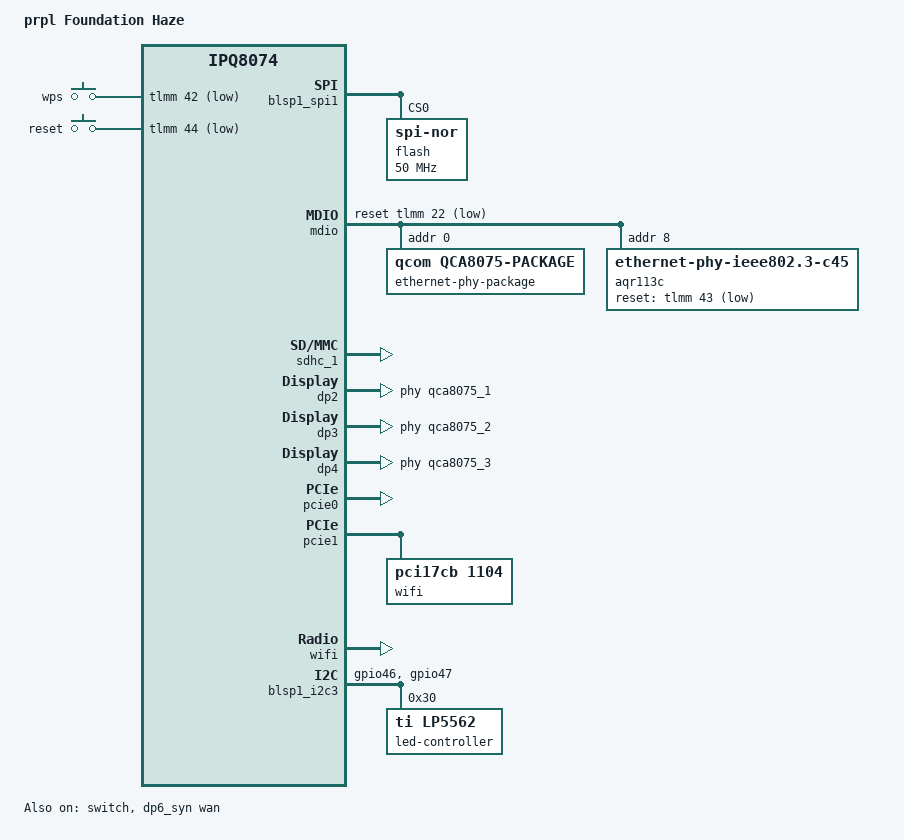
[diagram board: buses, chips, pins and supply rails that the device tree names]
// SPDX-License-Identifier: GPL-2.0-or-later OR MIT

/dts-v1/;

#include "ipq8074.dtsi"
#include "ipq8074-ess.dtsi"
#include "ipq8074-nss.dtsi"
#include "ipq8074-common.dtsi"
#include "ipq8074-hk-cpu.dtsi"

#include <dt-bindings/gpio/gpio.h>
#include <dt-bindings/input/input.h>
#include <dt-bindings/leds/common.h>

/ {
	model = "prpl Foundation Haze";
	compatible = "prpl,haze", "qcom,ipq8074";

	aliases {
		serial0 = &blsp1_uart5;

		led-boot = &led_system_blue;
		led-failsafe = &led_system_red;
		led-running = &led_system_green;
		led-upgrade = &led_system_blue;

		ethernet0 = &dp6_syn;
		ethernet1 = &dp4;
		ethernet2 = &dp3;
		ethernet3 = &dp2;

		label-mac-device = &dp6_syn;
	};

	chosen {
		stdout-path = "serial0:115200n8";
	};

	keys {
		compatible = "gpio-keys";

		wps-button {
			label = "wps";
			gpios = <&tlmm 42 GPIO_ACTIVE_LOW>;
			linux,code = <KEY_WPS_BUTTON>;
		};

		reset-button {
			label = "reset";
			gpios = <&tlmm 44 GPIO_ACTIVE_LOW>;
			linux,code = <KEY_RESTART>;
		};
	};
};

&tlmm {
	i2c_3_pins: i2c-3-pins {
		pins = "gpio46", "gpio47";
		function = "blsp2_i2c";
		drive-strength = <8>;
		bias-disable;
	};
};

&blsp1_spi1 {
	status = "okay";

	flash@0 {
		compatible = "jedec,spi-nor";
		spi-max-frequency = <50000000>;
		reg = <0>;

		partitions {
			compatible = "qcom,smem-part";
		};
	};
};

&mdio {
	status = "okay";

	pinctrl-0 = <&mdio_pins>;
	pinctrl-names = "default";
	reset-gpios = <&tlmm 22 GPIO_ACTIVE_LOW>;

	ethernet-phy-package@0 {
		compatible = "qcom,qca8075-package";
		#address-cells = <1>;
		#size-cells = <0>;
		reg = <0>;

		qcom,package-mode = "qsgmii";

		qca8075_0: ethernet-phy@0 {
			compatible = "ethernet-phy-ieee802.3-c22";
			reg = <0>;
		};

		qca8075_1: ethernet-phy@1 {
			compatible = "ethernet-phy-ieee802.3-c22";
			reg = <1>;
		};

		qca8075_2: ethernet-phy@2 {
			compatible = "ethernet-phy-ieee802.3-c22";
			reg = <2>;
		};

		qca8075_3: ethernet-phy@3 {
			compatible = "ethernet-phy-ieee802.3-c22";
			reg = <3>;
		};
	};

	aqr113c: ethernet-phy@5 {
		compatible ="ethernet-phy-ieee802.3-c45";
		reg = <8>;
		reset-gpios = <&tlmm 43 GPIO_ACTIVE_LOW>;
	};
};

&sdhc_1 {
	status = "okay";

	vqmmc-supply = <&l11>;
};

&switch {
	status = "okay";

	switch_lan_bmp = <(ESS_PORT1 | ESS_PORT2 | ESS_PORT3 | ESS_PORT4)>;
	switch_wan_bmp = <ESS_PORT6>;
	switch_mac_mode = <MAC_MODE_QSGMII>;
	switch_mac_mode1 = <MAC_MODE_10GBASE_R>;
	switch_mac_mode2 = <MAC_MODE_USXGMII>;

	qcom,port_phyinfo {
		port@1 {
			port_id = <1>;
			phy_address = <0>;
		};

		port@2 {
			port_id = <2>;
			phy_address = <1>;
		};

		port@3 {
			port_id = <3>;
			phy_address = <2>;
		};

		port@4 {
			port_id = <4>;
			phy_address = <3>;
		};

		port@6 {
			port_id = <6>;
			phy_address = <8>;
			compatible = "ethernet-phy-ieee802.3-c45";
			ethernet-phy-ieee802.3-c45;
		};
	};
};

&edma {
	status = "okay";
};

/* Dummy LAN port */
&dp1 {
	status = "disabled";
	phy-handle = <&qca8075_0>;
	label = "lan4";
};

&dp2 {
	status = "okay";
	phy-handle = <&qca8075_1>;
	label = "lan3";
};

&dp3 {
	status = "okay";
	phy-handle = <&qca8075_2>;
	label = "lan2";
};

&dp4 {
	status = "okay";
	phy-handle = <&qca8075_3>;
	label = "lan1";
};

&dp6_syn {
	status = "okay";
	qcom,mactype = <1>;
	phy-mode = "usxgmii";
	phy-handle = <&aqr113c>;
	label = "wan";
};

&pcie0 {
	status = "okay";
	perst-gpios = <&tlmm 58 GPIO_ACTIVE_LOW>;
};

&pcie1 {
	status = "okay";
	perst-gpios = <&tlmm 61 GPIO_ACTIVE_LOW>;

	pcie@0 {
		wifi@0,0 {
			status = "okay";
			compatible = "pci17cb,1104";
			qcom,ath11k-fw-memory-mode = <1>;
			qcom,ath11k-calibration-variant = "prpl-Haze";
			reg = <0x00010000 0 0 0 0>;
		};
	};
};

&wifi {
	status = "okay";
	qcom,ath11k-fw-memory-mode = <1>;
	qcom,ath11k-calibration-variant = "prpl-Haze";
};

&blsp1_i2c3 {
	pinctrl-0 = <&i2c_3_pins>;
	pinctrl-names = "default";
	status = "okay";

	led-controller@30 {
		compatible = "ti,lp5562";
		reg = <0x30>;
		clock-mode = /bits/ 8 <2>;
		#address-cells = <1>;
		#size-cells = <0>;

		led_system_red: system-red {
			chan-name = "red";
			led-cur = /bits/ 8 <0x20>;
			max-cur = /bits/ 8 <0x60>;
			color = <LED_COLOR_ID_RED>;
			reg = <0>;
		};

		led_system_green: system-green {
			chan-name = "green";
			led-cur = /bits/ 8 <0x20>;
			max-cur = /bits/ 8 <0x60>;
			color = <LED_COLOR_ID_GREEN>;
			reg = <1>;
		};

		led_system_blue: system-blue {
			chan-name = "blue";
			led-cur = /bits/ 8 <0x20>;
			max-cur = /bits/ 8 <0x60>;
			color = <LED_COLOR_ID_BLUE>;
			reg = <2>;
		};
	};
};
